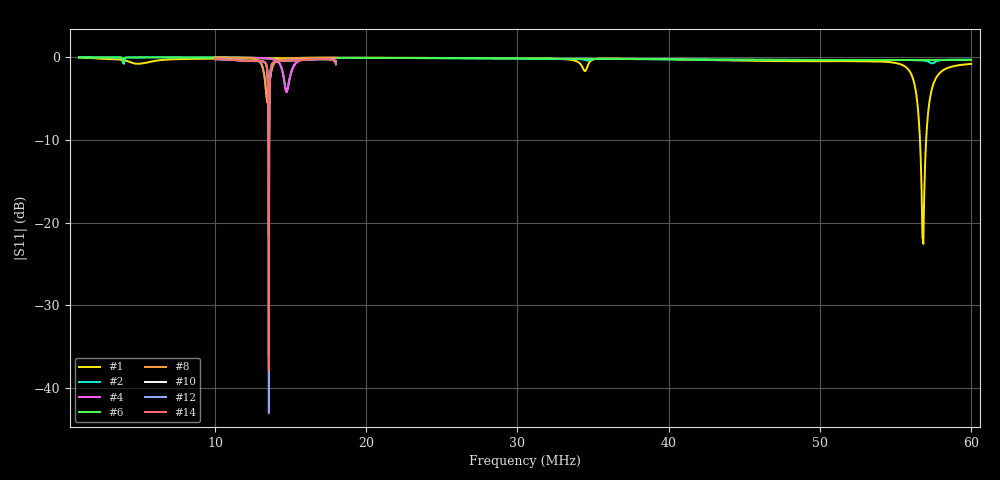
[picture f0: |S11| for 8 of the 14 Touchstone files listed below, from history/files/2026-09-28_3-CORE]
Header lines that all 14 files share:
! NanoVNA Web complex sweep
# Hz S RI R 50
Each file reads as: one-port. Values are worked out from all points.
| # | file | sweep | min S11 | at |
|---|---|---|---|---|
| 1 | 2026-09-28_CAPFREE_327x3_CDB_1-60M_nanovna-sweep-1790629284161.s1p | 1 MHz to 60 MHz | -22.6 dB | 56.84 MHz |
| 2 | 2026-09-28_NET_30s_50+30p_1-60M_nanovna-sweep-1790632133258.s1p | 1 MHz to 60 MHz | -4.2 dB | 14.74 MHz |
| 3 | 2026-09-28_NET_30s_50+30p_10-18M_s1_nanovna-sweep-1790632071011.s1p | 10 MHz to 18 MHz | -4.2 dB | 14.72 MHz |
| 4 | 2026-09-28_NET_30s_50+30p_10-18M_s2_nanovna-sweep-1790632084095.s1p | 10 MHz to 18 MHz | -4.2 dB | 14.75 MHz |
| 5 | 2026-09-28_NET_30s_50+30p_10-18M_s3_nanovna-sweep-1790632094895.s1p | 10 MHz to 18 MHz | -4.2 dB | 14.73 MHz |
| 6 | 2026-09-28_NET_30s_50+50p_1-60M_nanovna-sweep-1790632864363.s1p | 1 MHz to 60 MHz | -5.5 dB | 13.45 MHz |
| 7 | 2026-09-28_NET_30s_50+50p_10-18M_s1_nanovna-sweep-1790632829029.s1p | 10 MHz to 18 MHz | -5.4 dB | 13.47 MHz |
| 8 | 2026-09-28_NET_30s_50+50p_10-18M_s2_nanovna-sweep-1790632837820.s1p | 10 MHz to 18 MHz | -5.5 dB | 13.47 MHz |
| 9 | 2026-09-28_NET_30s_50+50p_10-18M_s3_nanovna-sweep-1790632846338.s1p | 10 MHz to 18 MHz | -5.5 dB | 13.46 MHz |
| 10 | adjusted-newtune_AIT_T1.15_L1.22_50ser_50_30shunt_327-3core_nanovna-sweep-1790636072926.s1p | 10 MHz to 18 MHz | -36.3 dB | 13.56 MHz |
| 11 | AIT_T1.11_L1.16_50ser_50+03shunt_nanovna-sweep-1790634422562.s1p | 10 MHz to 18 MHz | -41.9 dB | 13.56 MHz |
| 12 | AIT_T1.11_L1.19_50ser_50+03shunt_nanovna-sweep-1790634237291.s1p | 10 MHz to 18 MHz | -43.0 dB | 13.56 MHz |
| 13 | newtune_AIT_T1.12_L1.14_50ser_50+30shunt_nanovna-sweep-1790635994005.s1p | 10 MHz to 18 MHz | -39.2 dB | 13.56 MHz |
| 14 | PRE-HEAT_AIT_T1.15_L1.22_50ser_50_30shunt_327-3core_nanovna-sweep-1790636709402.s1p | 10 MHz to 18 MHz | -37.9 dB | 13.56 MHz |
